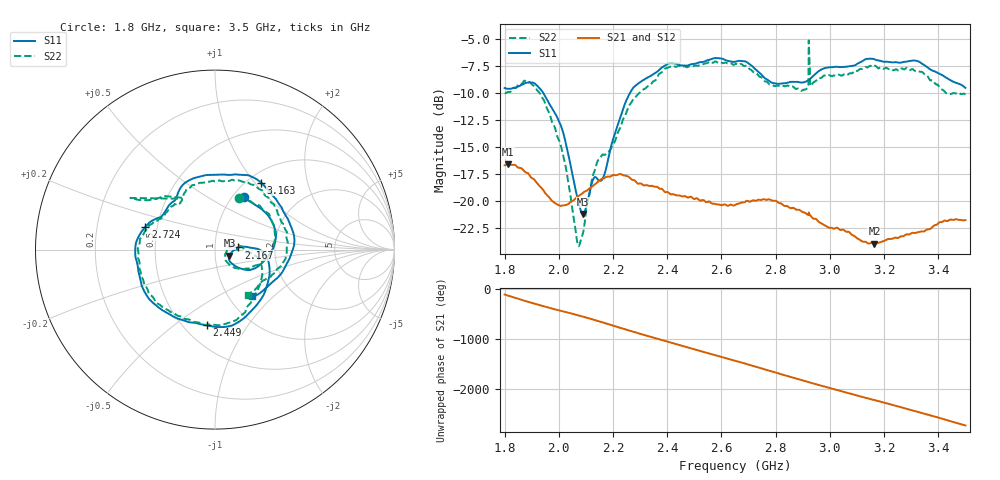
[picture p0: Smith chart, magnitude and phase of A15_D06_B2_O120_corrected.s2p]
! Created with skrf 1.9.0 (http://scikit-rf.org).
# Hz S RI R 50.0
!freq ReS11 ImS11 ReS21 ImS21 ReS12 ImS12 ReS22 ImS22
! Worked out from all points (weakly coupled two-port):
!   1601 points, 1.8 GHz to 3.5 GHz, reference 50 ohm
!   highest |S21| = -16.60 dB at 1.812 GHz (marker M1); lowest = -23.9 dB at 3.164 GHz (marker M2)
!   lowest |S11| = -21.2 dB at 2.09 GHz (marker M3), VSWR 1.19, Z = 58.6 - j3.92 ohm
!   |S11| at or under -10 dB: 1.943 GHz to 2.263 GHz (319.9 MHz wide, 15.2 % of centre)
!   |S22| runs from -24.2 to -5.1 dB; largest |S21 - S12| = 0.0024
!   S11 on the Smith chart (normalised r, x): 1.8 GHz: 1.13, +0.74; 2.167 GHz: 1.30, +0.03; 2.449 GHz: 0.64, -0.66; 2.724 GHz: 0.43, +0.13; 3.163 GHz: 1.15, +1.08; 3.5 GHz: 1.28, -0.75
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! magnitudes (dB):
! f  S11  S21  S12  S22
! 1.8 GHz  -9.5  -16.7  -16.7  -10.0
! 1.812 GHz  -9.6  -16.6  -16.6  -9.9
! 1.88 GHz  -9.1  -17.4  -17.3  -9.0
! 1.942 GHz  -10.0  -19.0  -19.0  -10.6
! 2.013 GHz  -13.4  -20.4  -20.4  -15.5
! 2.067 GHz  -19.5  -19.6  -19.6  -23.6
! 2.084 GHz  -21.0  -19.3  -19.3  -23.4
! 2.09 GHz  -21.2  -19.2  -19.2  -22.9
! 2.128 GHz  -17.9  -18.6  -18.5  -17.5
! 2.167 GHz  -17.6  -17.9  -17.9  -15.7
! 2.259 GHz  -10.2  -17.8  -17.8  -11.2
! 2.367 GHz  -7.9  -18.8  -18.7  -8.3
! 2.449 GHz  -7.4  -19.5  -19.5  -7.6
! 2.65 GHz  -7.1  -20.4  -20.3  -7.4
! 2.724 GHz  -7.8  -20.0  -19.9  -8.1
! 2.799 GHz  -9.1  -20.0  -20.0  -9.4
! 2.934 GHz  -8.5  -21.5  -21.5  -9.2
! 3.163 GHz  -6.9  -23.9  -23.9  -7.5
! 3.164 GHz  -6.9  -23.9  -23.9  -7.5
! 3.217 GHz  -7.1  -23.5  -23.5  -7.8
! 3.324 GHz  -7.1  -22.9  -22.9  -8.0
! 3.5 GHz  -9.5  -21.8  -21.7  -10.1
